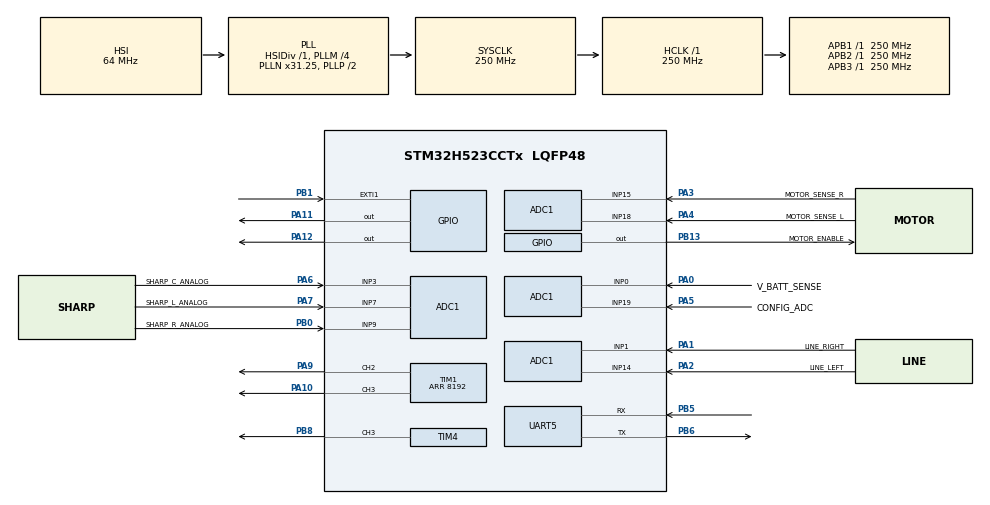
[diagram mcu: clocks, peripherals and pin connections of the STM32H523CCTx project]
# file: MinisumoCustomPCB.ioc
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ADC1.Channel-0\#ChannelRegularConversion=ADC_CHANNEL_1
ADC1.Channel-1\#ChannelRegularConversion=ADC_CHANNEL_3
ADC1.Channel-2\#ChannelRegularConversion=ADC_CHANNEL_7
ADC1.Channel-3\#ChannelRegularConversion=ADC_CHANNEL_0
ADC1.Channel-4\#ChannelRegularConversion=ADC_CHANNEL_9
ADC1.Channel-5\#ChannelRegularConversion=ADC_CHANNEL_14
ADC1.Channel-6\#ChannelRegularConversion=ADC_CHANNEL_15
ADC1.Channel-7\#ChannelRegularConversion=ADC_CHANNEL_18
ADC1.ContinuousConvMode=DISABLE
ADC1.DiscontinuousConvMode=DISABLE
ADC1.EOCSelection=ADC_EOC_SEQ_CONV
ADC1.EnableInjectedConversion=ENABLE
ADC1.InjMonitoredBy-8\#ChannelInjectedConversion=__NULL
ADC1.InjNumberOfConversion=1
ADC1.InjectedChannel-8\#ChannelInjectedConversion=ADC_CHANNEL_19
ADC1.InjectedOffsetNumber-8\#ChannelInjectedConversion=ADC_OFFSET_NONE
ADC1.InjectedRank-8\#ChannelInjectedConversion=1
ADC1.InjectedSamplingTime-8\#ChannelInjectedConversion=ADC_SAMPLETIME_92CYCLES_5
ADC1.MonitoredBy-0\#ChannelRegularConversion=__NULL
ADC1.MonitoredBy-1\#ChannelRegularConversion=__NULL
ADC1.MonitoredBy-2\#ChannelRegularConversion=__NULL
ADC1.MonitoredBy-3\#ChannelRegularConversion=__NULL
ADC1.MonitoredBy-4\#ChannelRegularConversion=__NULL
ADC1.MonitoredBy-5\#ChannelRegularConversion=__NULL
ADC1.MonitoredBy-6\#ChannelRegularConversion=__NULL
ADC1.MonitoredBy-7\#ChannelRegularConversion=__NULL
ADC1.NbrOfConversion=8
ADC1.NbrOfConversionFlag=1
ADC1.OffsetNumber-0\#ChannelRegularConversion=ADC_OFFSET_NONE
ADC1.OffsetNumber-1\#ChannelRegularConversion=ADC_OFFSET_NONE
ADC1.OffsetNumber-2\#ChannelRegularConversion=ADC_OFFSET_NONE
ADC1.OffsetNumber-3\#ChannelRegularConversion=ADC_OFFSET_NONE
ADC1.OffsetNumber-4\#ChannelRegularConversion=ADC_OFFSET_NONE
ADC1.OffsetNumber-5\#ChannelRegularConversion=ADC_OFFSET_NONE
ADC1.OffsetNumber-6\#ChannelRegularConversion=ADC_OFFSET_NONE
ADC1.OffsetNumber-7\#ChannelRegularConversion=ADC_OFFSET_NONE
ADC1.Rank-0\#ChannelRegularConversion=1
ADC1.Rank-1\#ChannelRegularConversion=2
ADC1.Rank-2\#ChannelRegularConversion=3
ADC1.Rank-3\#ChannelRegularConversion=4
ADC1.Rank-4\#ChannelRegularConversion=5
ADC1.Rank-5\#ChannelRegularConversion=6
ADC1.Rank-6\#ChannelRegularConversion=7
ADC1.Rank-7\#ChannelRegularConversion=8
ADC1.SamplingTime-0\#ChannelRegularConversion=ADC_SAMPLETIME_12CYCLES_5
ADC1.SamplingTime-1\#ChannelRegularConversion=ADC_SAMPLETIME_12CYCLES_5
ADC1.SamplingTime-2\#ChannelRegularConversion=ADC_SAMPLETIME_6CYCLES_5
ADC1.SamplingTime-3\#ChannelRegularConversion=ADC_SAMPLETIME_2CYCLES_5
ADC1.SamplingTime-4\#ChannelRegularConversion=ADC_SAMPLETIME_2CYCLES_5
ADC1.SamplingTime-5\#ChannelRegularConversion=ADC_SAMPLETIME_2CYCLES_5
ADC1.SamplingTime-6\#ChannelRegularConversion=ADC_SAMPLETIME_2CYCLES_5
ADC1.SamplingTime-7\#ChannelRegularConversion=ADC_SAMPLETIME_2CYCLES_5
ADC1.master=1
BOOTPATH.BootPathName=LEGACY
BOOTPATH.UserSelectedBootPath=LEGACY
CORTEX_M33_NS.AccessPermission-Cortex_Memory_Protection_Unit_Region1_Settings=MPU_REGION_ALL_RW
CORTEX_M33_NS.Attributes1=__NULL
CORTEX_M33_NS.BaseAddress-Cortex_Memory_Protection_Unit_Region1_Settings=0x0900C000
CORTEX_M33_NS.DisableExec-Cortex_Memory_Protection_Unit_Region1_Settings=MPU_INSTRUCTION_ACCESS_DISABLE
CORTEX_M33_NS.Enable-Cortex_Memory_Protection_Unit_Region1_Settings=MPU_REGION_ENABLE
CORTEX_M33_NS.LimitAddress-Cortex_Memory_Protection_Unit_Region1_Settings=0x09017FFF
CORTEX_M33_NS.Number-Cortex_Memory_Protection_Unit_Region0_OTP_RO_AREAS_Settings=MPU_REGION_NUMBER0
CORTEX_M33_NS.default_mode_Activation=1
CORTEX_M33_NS.userName=CORTEX_M33
FLASH.B8_BLOCK_active=false
FLASH.B8_Bank=FLASH_BANK_2
FLASH.EDATA2size=7
FLASH.OB_EDATA1_active=false
FLASH.OB_EDATA2_active=true
GPDMA1.DESTDATAWIDTH_GPDMACH0=DMA_DEST_DATAWIDTH_HALFWORD
GPDMA1.DESTDATAWIDTH_GPDMACH1=DMA_DEST_DATAWIDTH_HALFWORD
GPDMA1.DESTINC_GPDMACH1=DMA_DINC_INCREMENTED
GPDMA1.IPHANDLE_GPDMACH0-SIMPLEREQUEST_GPDMACH0=__NULL
GPDMA1.IPHANDLE_GPDMACH1-SIMPLEREQUEST_GPDMACH1=__NULL
GPDMA1.PRIORITY_GPDMACH1=DMA_LOW_PRIORITY_MID_WEIGHT
GPDMA1.REQUEST_GPDMACH0=GPDMA1_REQUEST_TIM4_UP
GPDMA1.REQUEST_GPDMACH1=GPDMA1_REQUEST_ADC1
GPDMA1.SRCDATAWIDTH_GPDMACH0=DMA_SRC_DATAWIDTH_HALFWORD
GPDMA1.SRCDATAWIDTH_GPDMACH1=DMA_SRC_DATAWIDTH_HALFWORD
GPDMA1.SRCINC_GPDMACH0=DMA_SINC_INCREMENTED
Mcu.Family=STM32H5
Mcu.Name=STM32H523CCTx
Mcu.Package=LQFP48
NVIC.EXTI1_IRQn=true\:0\:0\:false\:false\:true\:true\:true\:true
NVIC.GPDMA1_Channel0_IRQn=true\:0\:0\:false\:false\:true\:false\:true\:true
NVIC.GPDMA1_Channel1_IRQn=true\:0\:0\:false\:false\:true\:false\:true\:true
NVIC.PriorityGroup=NVIC_PRIORITYGROUP_4
NVIC.TIM12_IRQn=true\:0\:0\:false\:false\:true\:true\:true\:true
PA0.GPIO_Label=V_BATT_SENSE
PA0.Signal=ADCx_INP0
PA1.GPIO_Label=LINE_RIGHT
PA1.Signal=ADCx_INP1
PA10.Signal=S_TIM1_CH3
PA11.Signal=GPIO_Output
PA12.Signal=GPIO_Output
PA2.GPIO_Label=LINE_LEFT
PA2.Signal=ADCx_INP14
PA3.GPIO_Label=MOTOR_SENSE_R
PA3.Signal=ADCx_INP15
PA4.GPIO_Label=MOTOR_SENSE_L
PA4.Signal=ADCx_INP18
PA5.GPIO_Label=CONFIG_ADC
PA5.Signal=ADCx_INP19
PA6.GPIO_Label=SHARP_C_ANALOG
PA6.Signal=ADCx_INP3
PA7.GPIO_Label=SHARP_L_ANALOG
PA7.Signal=ADCx_INP7
PA9.Signal=S_TIM1_CH2
PB0.GPIO_Label=SHARP_R_ANALOG
PB0.Signal=ADCx_INP9
PB1.GPIO_ModeDefaultEXTI=GPIO_MODE_IT_RISING_FALLING
PB1.Signal=GPXTI1
PB13.GPIO_Label=MOTOR_ENABLE
PB13.Signal=GPIO_Output
PB5.Mode=Asynchronous
PB5.Signal=UART5_RX
PB6.Mode=Asynchronous
PB6.Signal=UART5_TX
PB8.Signal=S_TIM4_CH3
ProjectManager.HeapSize=0x200
ProjectManager.StackSize=0x400
ProjectManager.TargetToolchain=CMake
RCC.ADCFreq_Value=250000000
RCC.AHBFreq_Value=250000000
RCC.APB1Freq_Value=250000000
RCC.APB1TimFreq_Value=250000000
RCC.APB2Freq_Value=250000000
RCC.APB2TimFreq_Value=250000000
RCC.APB3Freq_Value=250000000
RCC.CSI_VALUE=4000000
RCC.CortexFreq_Value=250000000
RCC.EPOD_VALUE=64000000
RCC.HCLKFreq_Value=250000000
RCC.HSE_VALUE=25000000
RCC.HSI48_VALUE=48000000
RCC.HSIDiv=RCC_HSI_DIV1
RCC.HSI_VALUE=64000000
RCC.LSE_VALUE=32768
RCC.LSIRC_VALUE=32000
RCC.PLLFRACN=2048
RCC.PLLM=4
RCC.PLLN=31
RCC.PLLSourceVirtual=RCC_PLL1_SOURCE_HSI
RCC.SYSCLKFreq_VALUE=250000000
RCC.SYSCLKSource=RCC_SYSCLKSOURCE_PLLCLK
RCC.USBFreq_Value=48000000
RCC.VCOOutputFreq_Value=500000000
SH.ADCx_INP0.0=ADC1_INP0,IN0-Single-Ended
SH.ADCx_INP1.0=ADC1_INP1,IN1-Single-Ended
SH.ADCx_INP14.0=ADC1_INP14,IN14-Single-Ended
SH.ADCx_INP15.0=ADC1_INP15,IN15-Single-Ended
SH.ADCx_INP18.0=ADC1_INP18,IN18-Single-Ended
SH.ADCx_INP19.0=ADC1_INP19,IN19-Single-Ended
SH.ADCx_INP3.0=ADC1_INP3,IN3-Single-Ended
SH.ADCx_INP7.0=ADC1_INP7,IN7-Single-Ended
SH.ADCx_INP9.0=ADC1_INP9,IN9-Single-Ended
SH.S_TIM1_CH2.0=TIM1_CH2,PWM Generation2 CH2
SH.S_TIM1_CH3.0=TIM1_CH3,PWM Generation3 CH3
SH.S_TIM4_CH3.0=TIM4_CH3,PWM Generation3 CH3
TIM1.AutoReloadPreload=TIM_AUTORELOAD_PRELOAD_ENABLE
TIM1.Channel-PWM\ Generation2\ CH2=TIM_CHANNEL_2
TIM1.Channel-PWM\ Generation3\ CH3=TIM_CHANNEL_3
TIM1.OCFastMode_PWM-PWM\ Generation2\ CH2=TIM_OCFAST_ENABLE
TIM1.OCFastMode_PWM-PWM\ Generation3\ CH3=TIM_OCFAST_ENABLE
TIM1.PeriodNoDither=8192
TIM12.Channel-Output\ Compare1\ No\ Output=TIM_CHANNEL_1
TIM12.Prescaler=16
TIM12.PulseNoDither_1=26406
TIM4.Channel-PWM\ Generation3\ CH3=TIM_CHANNEL_3
TIM4.OCFastMode_PWM-PWM\ Generation3\ CH3=TIM_OCFAST_ENABLE
TIM4.PeriodNoDither=312
TIM4.PulseNoDither_3=80
TIM6.AutoReloadPreload=TIM_AUTORELOAD_PRELOAD_ENABLE
TIM6.Prescaler=250
VP_BOOTPATH_VS_BOOTPATH.Mode=BP_Activate
VP_CORTEX_M33_NS_VS_Hclk.Mode=Hclk_Mode
VP_FLASH_SIG_Activate_FlashIP.Mode=Activate_FlashIP
VP_GPDMA1_VS_GPDMACH0.Mode=SIMPLEREQUEST_GPDMACH0
VP_GPDMA1_VS_GPDMACH1.Mode=SIMPLEREQUEST_GPDMACH1
VP_ICACHE_VS_ICACHE.Mode=DirectMappedCache
VP_MEMORYMAP_VS_MEMORYMAP.Mode=CurAppReg
VP_PWR_VS_LPOM.Mode=PowerOptimisation
VP_PWR_VS_SECSignals.Mode=Security/Privilege
VP_TIM12_VS_ClockSourceINT.Mode=Internal
VP_TIM12_VS_no_output1.Mode=Output Compare1 No Output
VP_TIM6_VS_ClockSourceINT.Mode=Enable_Timer
board=custom

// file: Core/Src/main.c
/* USER CODE BEGIN Header */
/**
 ******************************************************************************
 * @file           : main.c
 * @brief          : Main program body
 ******************************************************************************
 * @attention
 *
 * Copyright (c) 2026 STMicroelectronics.
 * All rights reserved.
 *
 * This software is licensed under terms that can be found in the LICENSE file
 * in the root directory of this software component.
 * If no LICENSE file comes with this software, it is provided AS-IS.
 *
 ******************************************************************************
 */
/* USER CODE END Header */
#include "main.h"

/* USER CODE BEGIN Includes */
#include <stdint.h>
#include <stdio.h>
#include <string.h>
#include "ee.h"
#include "minisumo.h"
#include "motor.h"
#include "sensors.h"
#include "status.h"
#include "stm32h523xx.h"
#include "stm32h5xx_hal.h"
#include "stm32h5xx_hal_adc.h"
#include "stm32h5xx_hal_adc_ex.h"
#include "stm32h5xx_hal_def.h"
#include "stm32h5xx_hal_gpio.h"
#include "stm32h5xx_hal_tim.h"
#include "stm32h5xx_hal_uart.h"
#include "wsLed.h"

/* USER CODE END Includes */

ADC_HandleTypeDef hadc1;
DMA_HandleTypeDef handle_GPDMA1_Channel1;

TIM_HandleTypeDef htim1;
TIM_HandleTypeDef htim4;
TIM_HandleTypeDef htim6;
TIM_HandleTypeDef htim12;
DMA_HandleTypeDef handle_GPDMA1_Channel0;

UART_HandleTypeDef huart5;

/* USER CODE BEGIN PV */
uint32_t adcConversionCompleted = 0;
/* USER CODE END PV */

void        SystemClock_Config(void);
static void MPU_Config(void);
static void MX_GPIO_Init(void);
static void MX_GPDMA1_Init(void);
static void MX_ICACHE_Init(void);
static void MX_TIM4_Init(void);
static void MX_ADC1_Init(void);
static void MX_UART5_Init(void);
static void MX_TIM1_Init(void);
static void MX_TIM12_Init(void);
static void MX_TIM6_Init(void);
static void MX_FLASH_Init(void);

int main(void)
{

    /* MCU Configuration--------------------------------------------------------*/

    /* MPU Configuration--------------------------------------------------------*/

    MPU_Config();

    /* Reset of all peripherals, Initializes the Flash interface and the Systick. */
    HAL_Init();

    /* Configure the system clock */
    SystemClock_Config();

    /* Initialize all configured peripherals */
    MX_GPIO_Init();
    MX_GPDMA1_Init();
    MX_ICACHE_Init();
    MX_TIM4_Init();
    MX_ADC1_Init();
    MX_UART5_Init();
    MX_TIM1_Init();
    MX_TIM12_Init();
    MX_TIM6_Init();
    MX_FLASH_Init();
    /* USER CODE BEGIN 2 */

    HAL_UART_Transmit(&huart5, "Hola soy Minisumo!\r\n", 20, 1000);

    MinisumoConfig config;

    config.statusConfig.dma        = &handle_GPDMA1_Channel0;
    config.statusConfig.tim        = &htim4;
    config.statusConfig.timChannel = TIM_CHANNEL_3;

    config.adc = &hadc1;

    config.rc5Timer = &htim12;

    config.motorLeft.timer          = &htim1;
    config.motorLeft.timerChannel   = TIM_CHANNEL_2;
    config.motorLeft.directionPort  = GPIOA;
    config.motorLeft.directionPin   = GPIO_PIN_12;
    config.motorLeft.isReversed     = 0;
    config.motorRight.timer         = &htim1;
    config.motorRight.timerChannel  = TIM_CHANNEL_3;
    config.motorRight.directionPort = GPIOA;
    config.motorRight.directionPin  = GPIO_PIN_11;
    config.motorRight.isReversed    = 1;
    minisumo_setup(&config);

    HAL_GPIO_WritePin(MOTOR_ENABLE_GPIO_Port, MOTOR_ENABLE_Pin, GPIO_PIN_SET);

    HAL_TIM_Base_Start(&htim6);

    /* USER CODE END 2 */

    /* Infinite loop */
    /* USER CODE BEGIN WHILE */

    HAL_TIM_PWM_Start(config.motorLeft.timer, config.motorLeft.timerChannel);
    HAL_TIM_PWM_Start(config.motorLeft.timer, config.motorRight.timerChannel);
    sensors_init(&hadc1);
    status_rawLeds((Rgb){0, 20, 0}, (Rgb){0, 0, 0});

    while (1) {
        //HAL_UART_Transmit(&huart5, "Hola soy Minisumo!\n", 20, 1000);

        minisumo_loop_new();
        /* USER CODE END WHILE */

    }
}

void SystemClock_Config(void)
{
    RCC_OscInitTypeDef RCC_OscInitStruct = {0};
    RCC_ClkInitTypeDef RCC_ClkInitStruct = {0};

    /** Configure the main internal regulator output voltage
  */
    __HAL_PWR_VOLTAGESCALING_CONFIG(PWR_REGULATOR_VOLTAGE_SCALE0);

    while (!__HAL_PWR_GET_FLAG(PWR_FLAG_VOSRDY)) {}

    /** Initializes the RCC Oscillators according to the specified parameters
  * in the RCC_OscInitTypeDef structure.
  */
    RCC_OscInitStruct.OscillatorType      = RCC_OSCILLATORTYPE_HSI;
    RCC_OscInitStruct.HSIState            = RCC_HSI_ON;
    RCC_OscInitStruct.HSIDiv              = RCC_HSI_DIV1;
    RCC_OscInitStruct.HSICalibrationValue = RCC_HSICALIBRATION_DEFAULT;
    RCC_OscInitStruct.PLL.PLLState        = RCC_PLL_ON;
    RCC_OscInitStruct.PLL.PLLSource       = RCC_PLL1_SOURCE_HSI;
    RCC_OscInitStruct.PLL.PLLM            = 4;
    RCC_OscInitStruct.PLL.PLLN            = 31;
    RCC_OscInitStruct.PLL.PLLP            = 2;
    RCC_OscInitStruct.PLL.PLLQ            = 2;
    RCC_OscInitStruct.PLL.PLLR            = 2;
    RCC_OscInitStruct.PLL.PLLRGE          = RCC_PLL1_VCIRANGE_3;
    RCC_OscInitStruct.PLL.PLLVCOSEL       = RCC_PLL1_VCORANGE_WIDE;
    RCC_OscInitStruct.PLL.PLLFRACN        = 2048;
    if (HAL_RCC_OscConfig(&RCC_OscInitStruct) != HAL_OK) {
        Error_Handler();
    }

    /** Initializes the CPU, AHB and APB buses clocks
  */
    RCC_ClkInitStruct.ClockType =
        RCC_CLOCKTYPE_HCLK | RCC_CLOCKTYPE_SYSCLK | RCC_CLOCKTYPE_PCLK1 | RCC_CLOCKTYPE_PCLK2 | RCC_CLOCKTYPE_PCLK3;
    RCC_ClkInitStruct.SYSCLKSource   = RCC_SYSCLKSOURCE_PLLCLK;
    RCC_ClkInitStruct.AHBCLKDivider  = RCC_SYSCLK_DIV1;
    RCC_ClkInitStruct.APB1CLKDivider = RCC_HCLK_DIV1;
    RCC_ClkInitStruct.APB2CLKDivider = RCC_HCLK_DIV1;
    RCC_ClkInitStruct.APB3CLKDivider = RCC_HCLK_DIV1;

    if (HAL_RCC_ClockConfig(&RCC_ClkInitStruct, FLASH_LATENCY_5) != HAL_OK) {
        Error_Handler();
    }

    /** Configure the programming delay
  */
    __HAL_FLASH_SET_PROGRAM_DELAY(FLASH_PROGRAMMING_DELAY_2);
}

static void MX_ADC1_Init(void)
{

    ADC_ChannelConfTypeDef   sConfig         = {0};
    ADC_InjectionConfTypeDef sConfigInjected = {0};

    /** Common config
  */
    hadc1.Instance                   = ADC1;
    hadc1.Init.ClockPrescaler        = ADC_CLOCK_ASYNC_DIV4;
    hadc1.Init.Resolution            = ADC_RESOLUTION_12B;
    hadc1.Init.DataAlign             = ADC_DATAALIGN_RIGHT;
    hadc1.Init.ScanConvMode          = ADC_SCAN_ENABLE;
    hadc1.Init.EOCSelection          = ADC_EOC_SEQ_CONV;
    hadc1.Init.LowPowerAutoWait      = DISABLE;
    hadc1.Init.ContinuousConvMode    = DISABLE;
    hadc1.Init.NbrOfConversion       = 8;
    hadc1.Init.DiscontinuousConvMode = DISABLE;
    hadc1.Init.ExternalTrigConv      = ADC_SOFTWARE_START;
    hadc1.Init.ExternalTrigConvEdge  = ADC_EXTERNALTRIGCONVEDGE_NONE;
    hadc1.Init.DMAContinuousRequests = DISABLE;
    hadc1.Init.SamplingMode          = ADC_SAMPLING_MODE_NORMAL;
    hadc1.Init.Overrun               = ADC_OVR_DATA_PRESERVED;
    hadc1.Init.OversamplingMode      = DISABLE;
    if (HAL_ADC_Init(&hadc1) != HAL_OK) {
        Error_Handler();
    }

    /** Disable Injected Queue
  */
    HAL_ADCEx_DisableInjectedQueue(&hadc1);

    /** Configure Regular Channel
  */
    sConfig.Channel      = ADC_CHANNEL_1;
    sConfig.Rank         = ADC_REGULAR_RANK_1;
    sConfig.SamplingTime = ADC_SAMPLETIME_12CYCLES_5;
    sConfig.SingleDiff   = ADC_SINGLE_ENDED;
    sConfig.OffsetNumber = ADC_OFFSET_NONE;
    sConfig.Offset       = 0;
    if (HAL_ADC_ConfigChannel(&hadc1, &sConfig) != HAL_OK) {
        Error_Handler();
    }

    /** Configure Regular Channel
  */
    sConfig.Channel = ADC_CHANNEL_3;
    sConfig.Rank    = ADC_REGULAR_RANK_2;
    if (HAL_ADC_ConfigChannel(&hadc1, &sConfig) != HAL_OK) {
        Error_Handler();
    }

    /** Configure Regular Channel
  */
    sConfig.Channel      = ADC_CHANNEL_7;
    sConfig.Rank         = ADC_REGULAR_RANK_3;
    sConfig.SamplingTime = ADC_SAMPLETIME_6CYCLES_5;
    if (HAL_ADC_ConfigChannel(&hadc1, &sConfig) != HAL_OK) {
        Error_Handler();
    }

    /** Configure Regular Channel
  */
    sConfig.Channel      = ADC_CHANNEL_0;
    sConfig.Rank         = ADC_REGULAR_RANK_4;
    sConfig.SamplingTime = ADC_SAMPLETIME_2CYCLES_5;
    if (HAL_ADC_ConfigChannel(&hadc1, &sConfig) != HAL_OK) {
        Error_Handler();
    }

    /** Configure Regular Channel
  */
    sConfig.Channel = ADC_CHANNEL_9;
    sConfig.Rank    = ADC_REGULAR_RANK_5;
    if (HAL_ADC_ConfigChannel(&hadc1, &sConfig) != HAL_OK) {
        Error_Handler();
    }

    /** Configure Regular Channel
  */
    sConfig.Channel = ADC_CHANNEL_14;
    sConfig.Rank    = ADC_REGULAR_RANK_6;
    if (HAL_ADC_ConfigChannel(&hadc1, &sConfig) != HAL_OK) {
        Error_Handler();
    }

    /** Configure Regular Channel
  */
    sConfig.Channel = ADC_CHANNEL_15;
    sConfig.Rank    = ADC_REGULAR_RANK_7;
    if (HAL_ADC_ConfigChannel(&hadc1, &sConfig) != HAL_OK) {
        Error_Handler();
    }

    /** Configure Regular Channel
  */
    sConfig.Channel = ADC_CHANNEL_18;
    sConfig.Rank    = ADC_REGULAR_RANK_8;
    if (HAL_ADC_ConfigChannel(&hadc1, &sConfig) != HAL_OK) {
        Error_Handler();
    }

    /** Configure Injected Channel
  */
    sConfigInjected.InjectedChannel               = ADC_CHANNEL_19;
    sConfigInjected.InjectedRank                  = ADC_INJECTED_RANK_1;
    sConfigInjected.InjectedSamplingTime          = ADC_SAMPLETIME_92CYCLES_5;
    sConfigInjected.InjectedSingleDiff            = ADC_SINGLE_ENDED;
    sConfigInjected.InjectedOffsetNumber          = ADC_OFFSET_NONE;
    sConfigInjected.InjectedOffset                = 0;
    sConfigInjected.InjectedNbrOfConversion       = 1;
    sConfigInjected.InjectedDiscontinuousConvMode = DISABLE;
    sConfigInjected.AutoInjectedConv              = DISABLE;
    sConfigInjected.QueueInjectedContext          = DISABLE;
    sConfigInjected.ExternalTrigInjecConv         = ADC_INJECTED_SOFTWARE_START;
    sConfigInjected.ExternalTrigInjecConvEdge     = ADC_EXTERNALTRIGINJECCONV_EDGE_NONE;
    sConfigInjected.InjecOversamplingMode         = DISABLE;
    if (HAL_ADCEx_InjectedConfigChannel(&hadc1, &sConfigInjected) != HAL_OK) {
        Error_Handler();
    }
}

static void MX_FLASH_Init(void)
{

    FLASH_OBProgramInitTypeDef pOBInit = {0};

    if (HAL_FLASH_Unlock() != HAL_OK) {
        Error_Handler();
    }

    /* Option Bytes settings */

    if (HAL_FLASH_OB_Unlock() != HAL_OK) {
        Error_Handler();
    }
    pOBInit.OptionType = OPTIONBYTE_EDATA;
    pOBInit.Banks      = FLASH_BANK_2;
    pOBInit.EDATASize  = 7;
    if (HAL_FLASHEx_OBProgram(&pOBInit) != HAL_OK) {
        Error_Handler();
    }
    if (HAL_FLASH_OB_Lock() != HAL_OK) {
        Error_Handler();
    }
    if (HAL_FLASH_Lock() != HAL_OK) {
        Error_Handler();
    }

    /* Launch Option Bytes Loading */
    /*HAL_FLASH_OB_Launch(); */

}

static void MX_GPDMA1_Init(void)
{

    /* Peripheral clock enable */
    __HAL_RCC_GPDMA1_CLK_ENABLE();

    /* GPDMA1 interrupt Init */
    HAL_NVIC_SetPriority(GPDMA1_Channel0_IRQn, 0, 0);
    HAL_NVIC_EnableIRQ(GPDMA1_Channel0_IRQn);
    HAL_NVIC_SetPriority(GPDMA1_Channel1_IRQn, 0, 0);
    HAL_NVIC_EnableIRQ(GPDMA1_Channel1_IRQn);

}

static void MX_ICACHE_Init(void)
{

    /** Enable instruction cache in 1-way (direct mapped cache)
  */
    if (HAL_ICACHE_ConfigAssociativityMode(ICACHE_1WAY) != HAL_OK) {
        Error_Handler();
    }
    if (HAL_ICACHE_Enable() != HAL_OK) {
        Error_Handler();
    }
}

static void MX_TIM1_Init(void)
{

    TIM_MasterConfigTypeDef        sMasterConfig        = {0};
    TIM_OC_InitTypeDef             sConfigOC            = {0};
    TIM_BreakDeadTimeConfigTypeDef sBreakDeadTimeConfig = {0};

    htim1.Instance               = TIM1;
    htim1.Init.Prescaler         = 0;
    htim1.Init.CounterMode       = TIM_COUNTERMODE_UP;
    htim1.Init.Period            = 8192;
    htim1.Init.ClockDivision     = TIM_CLOCKDIVISION_DIV1;
    htim1.Init.RepetitionCounter = 0;
    htim1.Init.AutoReloadPreload = TIM_AUTORELOAD_PRELOAD_ENABLE;
    if (HAL_TIM_PWM_Init(&htim1) != HAL_OK) {
        Error_Handler();
    }
    sMasterConfig.MasterOutputTrigger  = TIM_TRGO_RESET;
    sMasterConfig.MasterOutputTrigger2 = TIM_TRGO2_RESET;
    sMasterConfig.MasterSlaveMode      = TIM_MASTERSLAVEMODE_DISABLE;
    if (HAL_TIMEx_MasterConfigSynchronization(&htim1, &sMasterConfig) != HAL_OK) {
        Error_Handler();
    }
    sConfigOC.OCMode       = TIM_OCMODE_PWM1;
    sConfigOC.Pulse        = 0;
    sConfigOC.OCPolarity   = TIM_OCPOLARITY_HIGH;
    sConfigOC.OCNPolarity  = TIM_OCNPOLARITY_HIGH;
    sConfigOC.OCFastMode   = TIM_OCFAST_ENABLE;
    sConfigOC.OCIdleState  = TIM_OCIDLESTATE_RESET;
    sConfigOC.OCNIdleState = TIM_OCNIDLESTATE_RESET;
    if (HAL_TIM_PWM_ConfigChannel(&htim1, &sConfigOC, TIM_CHANNEL_2) != HAL_OK) {
        Error_Handler();
    }
    if (HAL_TIM_PWM_ConfigChannel(&htim1, &sConfigOC, TIM_CHANNEL_3) != HAL_OK) {
        Error_Handler();
    }
    sBreakDeadTimeConfig.OffStateRunMode  = TIM_OSSR_DISABLE;
    sBreakDeadTimeConfig.OffStateIDLEMode = TIM_OSSI_DISABLE;
    sBreakDeadTimeConfig.LockLevel        = TIM_LOCKLEVEL_OFF;
    sBreakDeadTimeConfig.DeadTime         = 0;
    sBreakDeadTimeConfig.BreakState       = TIM_BREAK_DISABLE;
    sBreakDeadTimeConfig.BreakPolarity    = TIM_BREAKPOLARITY_HIGH;
    sBreakDeadTimeConfig.BreakFilter      = 0;
    sBreakDeadTimeConfig.BreakAFMode      = TIM_BREAK_AFMODE_INPUT;
    sBreakDeadTimeConfig.Break2State      = TIM_BREAK2_DISABLE;
    sBreakDeadTimeConfig.Break2Polarity   = TIM_BREAK2POLARITY_HIGH;
    sBreakDeadTimeConfig.Break2Filter     = 0;
    sBreakDeadTimeConfig.Break2AFMode     = TIM_BREAK_AFMODE_INPUT;
    sBreakDeadTimeConfig.AutomaticOutput  = TIM_AUTOMATICOUTPUT_DISABLE;
    if (HAL_TIMEx_ConfigBreakDeadTime(&htim1, &sBreakDeadTimeConfig) != HAL_OK) {
        Error_Handler();
    }
    HAL_TIM_MspPostInit(&htim1);
}

static void MX_TIM4_Init(void)
{

    TIM_MasterConfigTypeDef sMasterConfig = {0};
    TIM_OC_InitTypeDef      sConfigOC     = {0};

    htim4.Instance               = TIM4;
    htim4.Init.Prescaler         = 0;
    htim4.Init.CounterMode       = TIM_COUNTERMODE_UP;
    htim4.Init.Period            = 312;
    htim4.Init.ClockDivision     = TIM_CLOCKDIVISION_DIV1;
    htim4.Init.AutoReloadPreload = TIM_AUTORELOAD_PRELOAD_DISABLE;
    if (HAL_TIM_PWM_Init(&htim4) != HAL_OK) {
        Error_Handler();
    }
    sMasterConfig.MasterOutputTrigger = TIM_TRGO_RESET;
    sMasterConfig.MasterSlaveMode     = TIM_MASTERSLAVEMODE_DISABLE;
    if (HAL_TIMEx_MasterConfigSynchronization(&htim4, &sMasterConfig) != HAL_OK) {
        Error_Handler();
    }
    sConfigOC.OCMode     = TIM_OCMODE_PWM1;
    sConfigOC.Pulse      = 80;
    sConfigOC.OCPolarity = TIM_OCPOLARITY_HIGH;
    sConfigOC.OCFastMode = TIM_OCFAST_ENABLE;
    if (HAL_TIM_PWM_ConfigChannel(&htim4, &sConfigOC, TIM_CHANNEL_3) != HAL_OK) {
        Error_Handler();
    }
    HAL_TIM_MspPostInit(&htim4);
}

static void MX_TIM6_Init(void)
{

    TIM_MasterConfigTypeDef sMasterConfig = {0};

    htim6.Instance               = TIM6;
    htim6.Init.Prescaler         = 250;
    htim6.Init.CounterMode       = TIM_COUNTERMODE_UP;
    htim6.Init.Period            = 65535;
    htim6.Init.AutoReloadPreload = TIM_AUTORELOAD_PRELOAD_ENABLE;
    if (HAL_TIM_Base_Init(&htim6) != HAL_OK) {
        Error_Handler();
    }
    sMasterConfig.MasterOutputTrigger = TIM_TRGO_RESET;
    sMasterConfig.MasterSlaveMode     = TIM_MASTERSLAVEMODE_DISABLE;
    if (HAL_TIMEx_MasterConfigSynchronization(&htim6, &sMasterConfig) != HAL_OK) {
        Error_Handler();
    }
}

static void MX_TIM12_Init(void)
{

    TIM_ClockConfigTypeDef sClockSourceConfig = {0};
    TIM_OC_InitTypeDef     sConfigOC          = {0};

    htim12.Instance               = TIM12;
    htim12.Init.Prescaler         = 16;
    htim12.Init.CounterMode       = TIM_COUNTERMODE_UP;
    htim12.Init.Period            = 65535;
    htim12.Init.ClockDivision     = TIM_CLOCKDIVISION_DIV1;
    htim12.Init.AutoReloadPreload = TIM_AUTORELOAD_PRELOAD_DISABLE;
    if (HAL_TIM_Base_Init(&htim12) != HAL_OK) {
        Error_Handler();
    }
    sClockSourceConfig.ClockSource = TIM_CLOCKSOURCE_INTERNAL;
    if (HAL_TIM_ConfigClockSource(&htim12, &sClockSourceConfig) != HAL_OK) {
        Error_Handler();
    }
    if (HAL_TIM_OC_Init(&htim12) != HAL_OK) {
        Error_Handler();
    }
    sConfigOC.OCMode     = TIM_OCMODE_TIMING;
    sConfigOC.Pulse      = 26406;
    sConfigOC.OCPolarity = TIM_OCPOLARITY_HIGH;
    sConfigOC.OCFastMode = TIM_OCFAST_DISABLE;
    if (HAL_TIM_OC_ConfigChannel(&htim12, &sConfigOC, TIM_CHANNEL_1) != HAL_OK) {
        Error_Handler();
    }
}

static void MX_UART5_Init(void)
{

    huart5.Instance                    = UART5;
    huart5.Init.BaudRate               = 115200;
    huart5.Init.WordLength             = UART_WORDLENGTH_8B;
    huart5.Init.StopBits               = UART_STOPBITS_1;
    huart5.Init.Parity                 = UART_PARITY_NONE;
    huart5.Init.Mode                   = UART_MODE_TX_RX;
    huart5.Init.HwFlowCtl              = UART_HWCONTROL_NONE;
    huart5.Init.OverSampling           = UART_OVERSAMPLING_16;
    huart5.Init.OneBitSampling         = UART_ONE_BIT_SAMPLE_DISABLE;
    huart5.Init.ClockPrescaler         = UART_PRESCALER_DIV1;
    huart5.AdvancedInit.AdvFeatureInit = UART_ADVFEATURE_NO_INIT;
    if (HAL_UART_Init(&huart5) != HAL_OK) {
        Error_Handler();
    }
    if (HAL_UARTEx_SetTxFifoThreshold(&huart5, UART_TXFIFO_THRESHOLD_1_8) != HAL_OK) {
        Error_Handler();
    }
    if (HAL_UARTEx_SetRxFifoThreshold(&huart5, UART_RXFIFO_THRESHOLD_1_8) != HAL_OK) {
        Error_Handler();
    }
    if (HAL_UARTEx_DisableFifoMode(&huart5) != HAL_OK) {
        Error_Handler();
    }
}

static void MX_GPIO_Init(void)
{
    GPIO_InitTypeDef GPIO_InitStruct = {0};

    /* GPIO Ports Clock Enable */
    __HAL_RCC_GPIOA_CLK_ENABLE();
    __HAL_RCC_GPIOB_CLK_ENABLE();

    /*Configure GPIO pin Output Level */
    HAL_GPIO_WritePin(MOTOR_ENABLE_GPIO_Port, MOTOR_ENABLE_Pin, GPIO_PIN_RESET);

    /*Configure GPIO pin Output Level */
    HAL_GPIO_WritePin(GPIOA, GPIO_PIN_11 | GPIO_PIN_12, GPIO_PIN_RESET);

    /*Configure GPIO pin : PB1 */
    GPIO_InitStruct.Pin  = GPIO_PIN_1;
    GPIO_InitStruct.Mode = GPIO_MODE_IT_RISING_FALLING;
    GPIO_InitStruct.Pull = GPIO_NOPULL;
    HAL_GPIO_Init(GPIOB, &GPIO_InitStruct);

    /*Configure GPIO pin : MOTOR_ENABLE_Pin */
    GPIO_InitStruct.Pin   = MOTOR_ENABLE_Pin;
    GPIO_InitStruct.Mode  = GPIO_MODE_OUTPUT_PP;
    GPIO_InitStruct.Pull  = GPIO_NOPULL;
    GPIO_InitStruct.Speed = GPIO_SPEED_FREQ_LOW;
    HAL_GPIO_Init(MOTOR_ENABLE_GPIO_Port, &GPIO_InitStruct);

    /*Configure GPIO pins : PA11 PA12 */
    GPIO_InitStruct.Pin   = GPIO_PIN_11 | GPIO_PIN_12;
    GPIO_InitStruct.Mode  = GPIO_MODE_OUTPUT_PP;
    GPIO_InitStruct.Pull  = GPIO_NOPULL;
    GPIO_InitStruct.Speed = GPIO_SPEED_FREQ_LOW;
    HAL_GPIO_Init(GPIOA, &GPIO_InitStruct);

    /* EXTI interrupt init*/
    HAL_NVIC_SetPriority(EXTI1_IRQn, 0, 0);
    HAL_NVIC_EnableIRQ(EXTI1_IRQn);

}

/* MPU Configuration */

void MPU_Config(void)
{
    MPU_Region_InitTypeDef     MPU_InitStruct     = {0};
    MPU_Attributes_InitTypeDef MPU_AttributesInit = {0};

    /* Disables the MPU */
    HAL_MPU_Disable();

    /** Initializes and configures the Region 0 and the memory to be protected
  */
    MPU_InitStruct.Enable           = MPU_REGION_ENABLE;
    MPU_InitStruct.Number           = MPU_REGION_NUMBER0;
    MPU_InitStruct.BaseAddress      = 0x08FFF000;
    MPU_InitStruct.LimitAddress     = 0x08FFFFFF;
    MPU_InitStruct.AttributesIndex  = MPU_ATTRIBUTES_NUMBER0;
    MPU_InitStruct.AccessPermission = MPU_REGION_ALL_RO;
    MPU_InitStruct.DisableExec      = MPU_INSTRUCTION_ACCESS_DISABLE;
    MPU_InitStruct.IsShareable      = MPU_ACCESS_NOT_SHAREABLE;

    HAL_MPU_ConfigRegion(&MPU_InitStruct);

    /** Initializes and configures the Region 1 and the memory to be protected
  */
    MPU_InitStruct.Number           = MPU_REGION_NUMBER1;
    MPU_InitStruct.BaseAddress      = 0x0900C000;
    MPU_InitStruct.LimitAddress     = 0x09017FFF;
    MPU_InitStruct.AccessPermission = MPU_REGION_ALL_RW;

    HAL_MPU_ConfigRegion(&MPU_InitStruct);

    /** Initializes and configures the Attribute 0 and the memory to be protected
  */
    MPU_AttributesInit.Number     = MPU_ATTRIBUTES_NUMBER0;
    MPU_AttributesInit.Attributes = INNER_OUTER(MPU_NOT_CACHEABLE);

    HAL_MPU_ConfigMemoryAttributes(&MPU_AttributesInit);
    /* Enables the MPU */
    HAL_MPU_Enable(MPU_PRIVILEGED_DEFAULT);
}

void Error_Handler(void)
{
    __disable_irq();
    while (1) {}
}
#ifdef USE_FULL_ASSERT
/**
  * @brief  Reports the name of the source file and the source line number
  *         where the assert_param error has occurred.
  * @param  file: pointer to the source file name
  * @param  line: assert_param error line source number
  * @retval None
  */
void assert_failed(uint8_t* file, uint32_t line)
{
    /* USER CODE BEGIN 6 */
    /* User can add his own implementation to report the file name and line
     number, ex: printf("Wrong parameters value: file %s on line %d\r\n", file,
     line) */
    /* USER CODE END 6 */
}
#endif /* USE_FULL_ASSERT */
